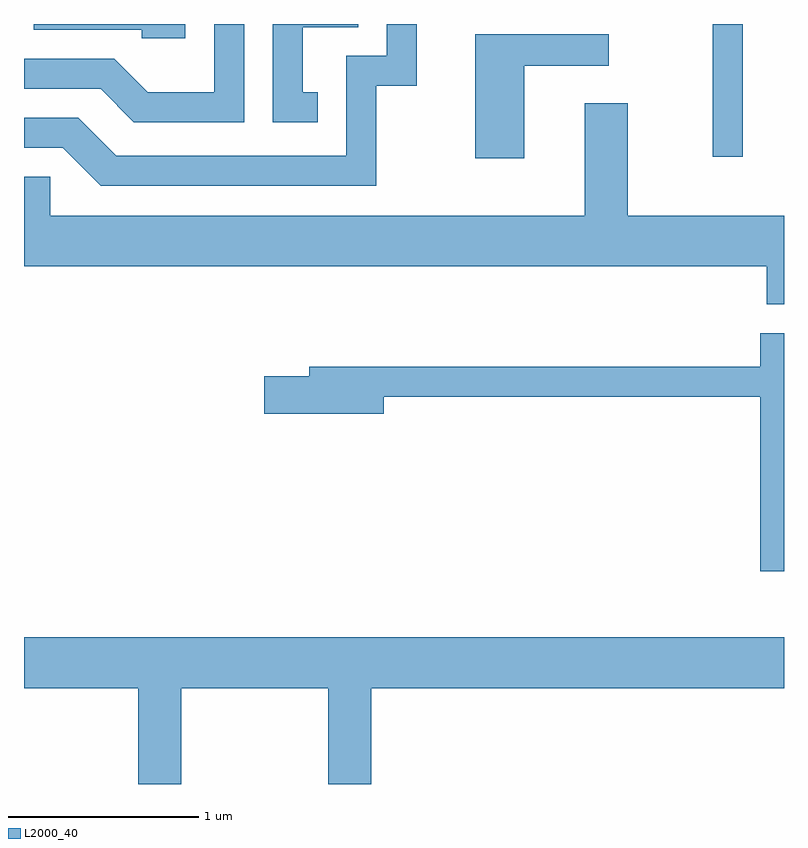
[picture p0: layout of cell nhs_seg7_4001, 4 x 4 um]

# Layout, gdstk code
import gdstk
lib = gdstk.Library(unit=1e-6, precision=1e-09)
def R(c, l, rs):  # rectangles x0, y0, x1, y1
    for r in rs: c.add(gdstk.rectangle(r[:2], r[2:], *l))
def P(c, l, *ps):  # polygons
    for p in ps: c.add(gdstk.Polygon(p, *l))
L2000_40 = (2000, 40)

nhs_seg7_4001 = lib.new_cell('nhs_seg7_4001')
R(nhs_seg7_4001, L2000_40, [(311.236,1721.553,311.394,1722.252)])
P(nhs_seg7_4001, L2000_40, [(308.769,1722.252),(308.611,1722.252),(308.611,1721.894),(308.262,1721.894),(308.087,1722.069),(307.611,1722.069),(307.611,1721.911),(308.014,1721.911),(308.189,1721.736),(308.769,1721.736)],
  [(309.158,1721.894),(309.079,1721.894),(309.079,1722.236),(309.369,1722.236),(309.369,1722.252),(308.921,1722.252),(308.921,1721.736),(309.158,1721.736)],
  [(309.464,1721.926),(309.679,1721.926),(309.679,1722.252),(309.521,1722.252),(309.521,1722.084),(309.306,1722.084),(309.306,1721.559),(308.097,1721.559),(307.897,1721.759),(307.611,1721.759),(307.611,1721.601),(307.814,1721.601),(308.014,1721.401),(309.464,1721.401)],
  [(308.459,1722.252),(307.661,1722.252),(307.661,1722.221),(308.231,1722.221),(308.231,1722.176),(308.459,1722.176)],
  [(310.244,1722.031),(310.688,1722.031),(310.688,1722.199),(309.986,1722.199),(309.986,1721.546),(310.244,1721.546)],
  [(311.611,1721.244),(310.789,1721.244),(310.789,1721.834),(310.561,1721.834),(310.561,1721.244),(307.749,1721.244),(307.749,1721.449),(307.611,1721.449),(307.611,1720.976),(311.521,1720.976),(311.521,1720.776),(311.611,1720.776)],
  [(311.611,1720.624),(311.486,1720.624),(311.486,1720.449),(309.111,1720.449),(309.111,1720.399),(308.876,1720.399),(308.876,1720.201),(309.504,1720.201),(309.504,1720.291),(311.486,1720.291),(311.486,1719.371),(311.611,1719.371)],
  [(308.439,1718.756),(309.211,1718.756),(309.211,1718.252),(309.439,1718.252),(309.439,1718.756),(311.611,1718.756),(311.611,1719.024),(307.611,1719.024),(307.611,1718.756),(308.211,1718.756),(308.211,1718.252),(308.439,1718.252)])

lib.write_gds('nhs_seg7_4001.gds')
